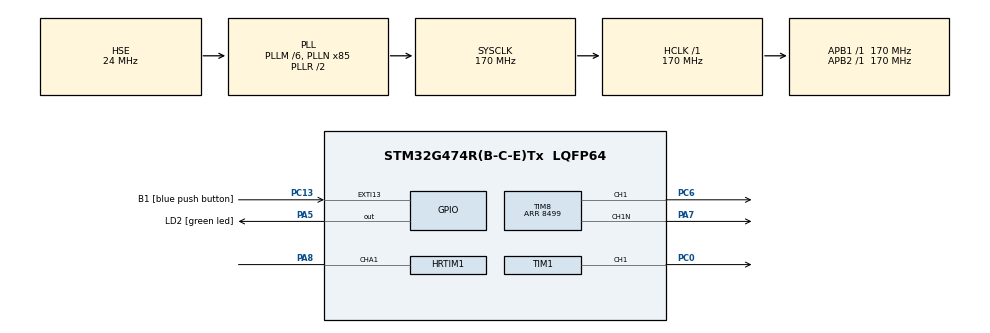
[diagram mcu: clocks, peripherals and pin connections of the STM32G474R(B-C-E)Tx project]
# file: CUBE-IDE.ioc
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HRTIM1.CompareUnit1-Output_TA1=HRTIM_COMPAREUNIT_1
HRTIM1.CompareValue1-Output_TA1=4094
HRTIM1.NumberResetSource1-Output_TA1=1
HRTIM1.NumberSetSource1-Output_TA1=1
HRTIM1.NumberUpdateTrigger-Output_TA1=1
HRTIM1.PreloadEnable-Output_TA1=HRTIM_PRELOAD_ENABLED
HRTIM1.ResetOutput1_Source1-Output_TA1=HRTIM_OUTPUTRESET_TIMCMP1
HRTIM1.SetOutput1_Source1-Output_TA1=HRTIM_OUTPUTSET_TIMPER
HRTIM1.UpdateTrigger1-Output_TA1=HRTIM_TIMUPDATETRIGGER_TIMER_A
Mcu.Family=STM32G4
Mcu.Name=STM32G474R(B-C-E)Tx
Mcu.Package=LQFP64
NVIC.EXTI15_10_IRQn=true\:0\:0\:false\:false\:true\:true\:true\:true
NVIC.PriorityGroup=NVIC_PRIORITYGROUP_4
PA13.GPIO_Label=T_SWDIO
PA13.Signal=SYS_JTMS-SWDIO
PA14.GPIO_Label=T_SWCLK
PA14.Signal=SYS_JTCK-SWCLK
PA2.GPIO_Label=LPUART1_TX [STLINKV3E_VCP_RX]
PA2.Signal=LPUART1_TX
PA3.GPIO_Label=LPUART1_RX [STLINKV3E_VCP_TX]
PA3.Signal=LPUART1_RX
PA5.GPIO_Label=LD2 [green led]
PA5.Signal=GPIO_Output
PA7.Mode=PWM Generation1 CH1 CH1N
PA7.Signal=TIM8_CH1N
PA8.Mode=Output_TA1
PA8.Signal=HRTIM1_CHA1
PB3.GPIO_Label=T_SWO
PB3.Signal=SYS_JTDO-SWO
PC0.Signal=S_TIM1_CH1
PC13.GPIO_Label=B1 [blue push button]
PC13.Signal=GPXTI13
PC14-OSC32_IN.GPIO_Label=RCC_OSC32_IN
PC14-OSC32_IN.Mode=LSE-External-Oscillator
PC14-OSC32_IN.Signal=RCC_OSC32_IN
PC15-OSC32_OUT.GPIO_Label=RCC_OSC32_OUT
PC15-OSC32_OUT.Mode=LSE-External-Oscillator
PC15-OSC32_OUT.Signal=RCC_OSC32_OUT
PC6.Signal=S_TIM8_CH1
PF0-OSC_IN.GPIO_Label=RCC_OSC_IN
PF0-OSC_IN.Mode=HSE-External-Oscillator
PF0-OSC_IN.Signal=RCC_OSC_IN
PF1-OSC_OUT.GPIO_Label=RCC_OSC_OUT
PF1-OSC_OUT.Mode=HSE-External-Oscillator
PF1-OSC_OUT.Signal=RCC_OSC_OUT
ProjectManager.HeapSize=0x200
ProjectManager.StackSize=0x400
ProjectManager.TargetToolchain=STM32CubeIDE
RCC.ADC12Freq_Value=170000000
RCC.ADC345Freq_Value=170000000
RCC.AHBFreq_Value=170000000
RCC.APB1Freq_Value=170000000
RCC.APB1TimFreq_Value=170000000
RCC.APB2Freq_Value=170000000
RCC.APB2TimFreq_Value=170000000
RCC.CortexFreq_Value=170000000
RCC.EXTERNAL_CLOCK_VALUE=12288000
RCC.HCLKFreq_Value=170000000
RCC.HSE_VALUE=24000000
RCC.HSI48_VALUE=48000000
RCC.HSI_VALUE=16000000
RCC.PLLM=RCC_PLLM_DIV6
RCC.PLLN=85
RCC.PLLSourceVirtual=RCC_PLLSOURCE_HSE
RCC.RTCClockSelection=RCC_RTCCLKSOURCE_LSE
RCC.SYSCLKFreq_VALUE=170000000
RCC.SYSCLKSource=RCC_SYSCLKSOURCE_PLLCLK
RCC.USBFreq_Value=170000000
RCC.VCOOutputFreq_Value=340000000
SH.S_TIM1_CH1.0=TIM1_CH1,PWM Generation1 CH1
SH.S_TIM8_CH1.0=TIM8_CH1,PWM Generation1 CH1 CH1N
TIM1.AutoReloadPreload=TIM_AUTORELOAD_PRELOAD_ENABLE
TIM1.Channel-PWM\ Generation1\ CH1=TIM_CHANNEL_1
TIM1.PeriodNoDither=33999
TIM8.AutoReloadPreload=TIM_AUTORELOAD_PRELOAD_ENABLE
TIM8.Channel-PWM\ Generation1\ CH1\ CH1N=TIM_CHANNEL_1
TIM8.PeriodNoDither=8499
VP_HRTIM1_VS_hrtimMasterTimerNoOutput.Mode=MasterTimer
VP_SYS_VS_DBSignals.Mode=DisableDeadBatterySignals
VP_TIM1_VS_ClockSourceINT.Mode=Internal
VP_TIM8_VS_ClockSourceINT.Mode=Internal
board=NUCLEO-G474RE

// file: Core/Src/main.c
/* USER CODE BEGIN Header */
/**
  ******************************************************************************
  * @file           : main.c
  * @brief          : Main program body
  ******************************************************************************
  * @attention
  *
  * Copyright (c) 2026 STMicroelectronics.
  * All rights reserved.
  *
  * This software is licensed under terms that can be found in the LICENSE file
  * in the root directory of this software component.
  * If no LICENSE file comes with this software, it is provided AS-IS.
  *
  ******************************************************************************
  */
/* USER CODE END Header */
#include "main.h"

/* USER CODE BEGIN PD */

/* Convert a percentage (integer, 0-100) and a timer period count to a CCR
   tick value. Both arguments must be compile-time constants — the compiler
   folds the entire expression to a single immediate with zero runtime cost.
   Example: DUTY_TO_TICKS(75, 34000) -> (75 * 34000) / 100 -> 25500         */
#define DUTY_TO_TICKS(pct, period)  (((uint32_t)(pct) * (uint32_t)(period)) / 100U)

/* TIM1 - 5 kHz PWM on CH1  (ARR = 33999, period counts = 34000) */
#define TIM1_ARR            34000U
#define TIM1_DUTY_75        DUTY_TO_TICKS(75, TIM1_ARR)   /* 25500 */
#define TIM1_DUTY_25        DUTY_TO_TICKS(25, TIM1_ARR)   /* 8500  */

/* TIM8 - 20 kHz PWM on CH1 and CH1N (ARR = 8499, period counts = 8500)
   CH1  -> 65% duty (active high)
   CH1N -> 35% duty (logical complement of CH1, OCNPolarity HIGH)          */
#define TIM8_ARR            8500U
#define TIM8_DUTY_65        DUTY_TO_TICKS(65, TIM8_ARR)   /* 5525  */

/* HRTIM Timer A - pulse sweep 15% -> 95% -> 15% (triangular)
   Period register = 0xFFDF = 65503, counts = 65504
   Preload enabled + UpdateTrigger = Timer A period event (set via IOC):
   CMP1 writes go to shadow register and transfer to active at period
   boundary — guarantees glitch-free pulse edges during the sweep.           */
#define HRTIM_ARR           65504U
#define HRTIM_CMP_MIN       DUTY_TO_TICKS(15, HRTIM_ARR)  /* 9825  */
#define HRTIM_CMP_MAX       DUTY_TO_TICKS(95, HRTIM_ARR)  /* 62228 */
#define HRTIM_SWEEP_STEPS   80U
#define HRTIM_SWEEP_STEP_SZ ((HRTIM_CMP_MAX - HRTIM_CMP_MIN) / HRTIM_SWEEP_STEPS)
#define HRTIM_SWEEP_MS      50U    /* update interval: 0.05 s */

/* USER CODE END PD */

HRTIM_HandleTypeDef hhrtim1;

TIM_HandleTypeDef htim1;
TIM_HandleTypeDef htim8;

/* USER CODE BEGIN PV */

static uint32_t hrtim_cmp       = HRTIM_CMP_MIN;
static uint32_t hrtim_last_tick = 0;
static uint8_t  hrtim_dir       = 1;  /* 1 = ascending, 0 = descending */

/* USER CODE END PV */

void SystemClock_Config(void);
static void MX_GPIO_Init(void);
static void MX_HRTIM1_Init(void);
static void MX_TIM1_Init(void);
static void MX_TIM8_Init(void);

int main(void)
{

  /* MCU Configuration--------------------------------------------------------*/

  /* Reset of all peripherals, Initializes the Flash interface and the Systick. */
  HAL_Init();

  /* Configure the system clock */
  SystemClock_Config();

  /* Initialize all configured peripherals */
  MX_GPIO_Init();
  MX_HRTIM1_Init();
  MX_TIM1_Init();
  MX_TIM8_Init();
  /* USER CODE BEGIN 2 */

  /* Declare all local structs at the top of the block (C89 safe)           */
  HRTIM_CompareCfgTypeDef cmpCfg  = {0};
  HRTIM_CompareCfgTypeDef sweepCmp = {0};

  /* --- TIM1: default 75% duty, start CH1 PWM ----------------------------
     B1 (PC13) is active LOW on NUCLEO-G474:
       Released (GPIO_PIN_SET)   -> 75% duty  (default)
       Pressed  (GPIO_PIN_RESET) -> 25% duty                               */
  __HAL_TIM_SET_COMPARE(&htim1, TIM_CHANNEL_1, TIM1_DUTY_75);
  HAL_TIM_PWM_Start(&htim1, TIM_CHANNEL_1);

  /* --- TIM8: set 65% duty, start CH1 (65%) and CH1N (35% complement) -----
     Pulse = 0 in CubeMX init; duty applied here so regeneration never
     breaks it. CH1N is the logical inverse — no polarity inversion needed.  */
  __HAL_TIM_SET_COMPARE(&htim8, TIM_CHANNEL_1, TIM8_DUTY_65);
  HAL_TIM_PWM_Start(&htim8, TIM_CHANNEL_1);       /* CH1  - 65% */
  HAL_TIMEx_PWMN_Start(&htim8, TIM_CHANNEL_1);    /* CH1N - complementary = 35% */

  /* --- HRTIM Timer A: load 15% CMP1 then start --------------------------
     Writing CMP1 before WaveformCountStart bypasses the shadow register
     (timer not running) so the very first pulse is correctly at 15%.
     Once running, all sweep writes hit the shadow register and transfer
     cleanly at each period event (preload + UpdateTrigger_TIMER_A).       */
  HRTIM1->sTimerxRegs[HRTIM_TIMERINDEX_TIMER_A].CMP1xR = HRTIM_CMP_MIN;
  HAL_HRTIM_WaveformOutputStart(&hhrtim1, HRTIM_OUTPUT_TA1);
  HAL_HRTIM_WaveformCountStart(&hhrtim1, HRTIM_TIMERID_TIMER_A);
  HRTIM1->sCommonRegs.OENR = HRTIM_OENR_TA1OEN;

  cmpCfg.CompareValue = HRTIM_CMP_MIN;
  HAL_HRTIM_WaveformCompareConfig(&hhrtim1, HRTIM_TIMERINDEX_TIMER_A,
                                   HRTIM_COMPAREUNIT_1, &cmpCfg);

  hrtim_last_tick = HAL_GetTick();

  /* USER CODE END 2 */

  /* Infinite loop */
  while (1)
  {

    /* USER CODE BEGIN 3 */

    /* --- TIM1: read B1 (PC13, active LOW) ---------------------------------
       Released (SET)   -> 75% duty (default)
       Pressed  (RESET) -> 25% duty                                         */
    if (HAL_GPIO_ReadPin(B1_GPIO_Port, B1_Pin) == GPIO_PIN_RESET)
    {
      __HAL_TIM_SET_COMPARE(&htim1, TIM_CHANNEL_1, TIM1_DUTY_75);
    }
    else
    {
      __HAL_TIM_SET_COMPARE(&htim1, TIM_CHANNEL_1, TIM1_DUTY_25);
    }

    /* --- HRTIM Timer A: triangular sweep 15% -> 95% -> 15% ---------------
       CMP1 updated every 50 ms. Shadow register absorbs the write; hardware
       transfers to active CMP1 at the next period event — no runt pulses.  */
    if ((HAL_GetTick() - hrtim_last_tick) >= HRTIM_SWEEP_MS)
    {
      hrtim_last_tick = HAL_GetTick();

      if (hrtim_dir)
      {
        hrtim_cmp += HRTIM_SWEEP_STEP_SZ;
        if (hrtim_cmp >= HRTIM_CMP_MAX)
        {
          hrtim_cmp = HRTIM_CMP_MAX;
          hrtim_dir = 0;
        }
      }
      else
      {
        if (hrtim_cmp > HRTIM_CMP_MIN + HRTIM_SWEEP_STEP_SZ)
        {
          hrtim_cmp -= HRTIM_SWEEP_STEP_SZ;
        }
        else
        {
          hrtim_cmp = HRTIM_CMP_MIN;
          hrtim_dir = 1;
        }
      }

      /* Write into shadow register — transfers to active at period event  */
      sweepCmp.CompareValue = hrtim_cmp;
      HAL_HRTIM_WaveformCompareConfig(&hhrtim1, HRTIM_TIMERINDEX_TIMER_A,
                                       HRTIM_COMPAREUNIT_1, &sweepCmp);
      HRTIM1->sCommonRegs.CR2 |= HRTIM_CR2_TASWU;
    }

  }
  /* USER CODE END 3 */
}

void SystemClock_Config(void)
{
  RCC_OscInitTypeDef RCC_OscInitStruct = {0};
  RCC_ClkInitTypeDef RCC_ClkInitStruct = {0};

  /** Configure the main internal regulator output voltage
  */
  HAL_PWREx_ControlVoltageScaling(PWR_REGULATOR_VOLTAGE_SCALE1_BOOST);

  /** Initializes the RCC Oscillators according to the specified parameters
  * in the RCC_OscInitTypeDef structure.
  */
  RCC_OscInitStruct.OscillatorType = RCC_OSCILLATORTYPE_HSE;
  RCC_OscInitStruct.HSEState = RCC_HSE_ON;
  RCC_OscInitStruct.PLL.PLLState = RCC_PLL_ON;
  RCC_OscInitStruct.PLL.PLLSource = RCC_PLLSOURCE_HSE;
  RCC_OscInitStruct.PLL.PLLM = RCC_PLLM_DIV6;
  RCC_OscInitStruct.PLL.PLLN = 85;
  RCC_OscInitStruct.PLL.PLLP = RCC_PLLP_DIV2;
  RCC_OscInitStruct.PLL.PLLQ = RCC_PLLQ_DIV2;
  RCC_OscInitStruct.PLL.PLLR = RCC_PLLR_DIV2;
  if (HAL_RCC_OscConfig(&RCC_OscInitStruct) != HAL_OK)
  {
    Error_Handler();
  }

  /** Initializes the CPU, AHB and APB buses clocks
  */
  RCC_ClkInitStruct.ClockType = RCC_CLOCKTYPE_HCLK|RCC_CLOCKTYPE_SYSCLK
                              |RCC_CLOCKTYPE_PCLK1|RCC_CLOCKTYPE_PCLK2;
  RCC_ClkInitStruct.SYSCLKSource = RCC_SYSCLKSOURCE_PLLCLK;
  RCC_ClkInitStruct.AHBCLKDivider = RCC_SYSCLK_DIV1;
  RCC_ClkInitStruct.APB1CLKDivider = RCC_HCLK_DIV1;
  RCC_ClkInitStruct.APB2CLKDivider = RCC_HCLK_DIV1;

  if (HAL_RCC_ClockConfig(&RCC_ClkInitStruct, FLASH_LATENCY_4) != HAL_OK)
  {
    Error_Handler();
  }
}

static void MX_HRTIM1_Init(void)
{

  HRTIM_TimeBaseCfgTypeDef pTimeBaseCfg = {0};
  HRTIM_TimerCfgTypeDef pTimerCfg = {0};
  HRTIM_TimerCtlTypeDef pTimerCtl = {0};
  HRTIM_CompareCfgTypeDef pCompareCfg = {0};
  HRTIM_OutputCfgTypeDef pOutputCfg = {0};

  hhrtim1.Instance = HRTIM1;
  hhrtim1.Init.HRTIMInterruptResquests = HRTIM_IT_NONE;
  hhrtim1.Init.SyncOptions = HRTIM_SYNCOPTION_NONE;
  if (HAL_HRTIM_Init(&hhrtim1) != HAL_OK)
  {
    Error_Handler();
  }
  if (HAL_HRTIM_DLLCalibrationStart(&hhrtim1, HRTIM_CALIBRATIONRATE_3) != HAL_OK)
  {
    Error_Handler();
  }
  if (HAL_HRTIM_PollForDLLCalibration(&hhrtim1, 10) != HAL_OK)
  {
    Error_Handler();
  }
  pTimeBaseCfg.Period = 0xFFDF;
  pTimeBaseCfg.RepetitionCounter = 0x00;
  pTimeBaseCfg.PrescalerRatio = HRTIM_PRESCALERRATIO_MUL32;
  pTimeBaseCfg.Mode = HRTIM_MODE_CONTINUOUS;
  if (HAL_HRTIM_TimeBaseConfig(&hhrtim1, HRTIM_TIMERINDEX_MASTER, &pTimeBaseCfg) != HAL_OK)
  {
    Error_Handler();
  }
  pTimerCfg.InterruptRequests = HRTIM_MASTER_IT_NONE;
  pTimerCfg.DMARequests = HRTIM_MASTER_DMA_NONE;
  pTimerCfg.DMASrcAddress = 0x0000;
  pTimerCfg.DMADstAddress = 0x0000;
  pTimerCfg.DMASize = 0x1;
  pTimerCfg.HalfModeEnable = HRTIM_HALFMODE_DISABLED;
  pTimerCfg.InterleavedMode = HRTIM_INTERLEAVED_MODE_DISABLED;
  pTimerCfg.StartOnSync = HRTIM_SYNCSTART_DISABLED;
  pTimerCfg.ResetOnSync = HRTIM_SYNCRESET_DISABLED;
  pTimerCfg.DACSynchro = HRTIM_DACSYNC_NONE;
  pTimerCfg.PreloadEnable = HRTIM_PRELOAD_DISABLED;
  pTimerCfg.UpdateGating = HRTIM_UPDATEGATING_INDEPENDENT;
  pTimerCfg.BurstMode = HRTIM_TIMERBURSTMODE_MAINTAINCLOCK;
  pTimerCfg.RepetitionUpdate = HRTIM_UPDATEONREPETITION_DISABLED;
  pTimerCfg.ReSyncUpdate = HRTIM_TIMERESYNC_UPDATE_UNCONDITIONAL;
  if (HAL_HRTIM_WaveformTimerConfig(&hhrtim1, HRTIM_TIMERINDEX_MASTER, &pTimerCfg) != HAL_OK)
  {
    Error_Handler();
  }
  if (HAL_HRTIM_TimeBaseConfig(&hhrtim1, HRTIM_TIMERINDEX_TIMER_A, &pTimeBaseCfg) != HAL_OK)
  {
    Error_Handler();
  }
  pTimerCtl.UpDownMode = HRTIM_TIMERUPDOWNMODE_UP;
  pTimerCtl.GreaterCMP1 = HRTIM_TIMERGTCMP1_EQUAL;
  pTimerCtl.DualChannelDacEnable = HRTIM_TIMER_DCDE_DISABLED;
  if (HAL_HRTIM_WaveformTimerControl(&hhrtim1, HRTIM_TIMERINDEX_TIMER_A, &pTimerCtl) != HAL_OK)
  {
    Error_Handler();
  }
  pTimerCfg.InterruptRequests = HRTIM_TIM_IT_NONE;
  pTimerCfg.DMARequests = HRTIM_TIM_DMA_NONE;
  pTimerCfg.PreloadEnable = HRTIM_PRELOAD_ENABLED;
  pTimerCfg.PushPull = HRTIM_TIMPUSHPULLMODE_DISABLED;
  pTimerCfg.FaultEnable = HRTIM_TIMFAULTENABLE_NONE;
  pTimerCfg.FaultLock = HRTIM_TIMFAULTLOCK_READWRITE;
  pTimerCfg.DeadTimeInsertion = HRTIM_TIMDEADTIMEINSERTION_DISABLED;
  pTimerCfg.DelayedProtectionMode = HRTIM_TIMER_A_B_C_DELAYEDPROTECTION_DISABLED;
  pTimerCfg.UpdateTrigger = HRTIM_TIMUPDATETRIGGER_TIMER_A;
  pTimerCfg.ResetTrigger = HRTIM_TIMRESETTRIGGER_NONE;
  pTimerCfg.ResetUpdate = HRTIM_TIMUPDATEONRESET_DISABLED;
  if (HAL_HRTIM_WaveformTimerConfig(&hhrtim1, HRTIM_TIMERINDEX_TIMER_A, &pTimerCfg) != HAL_OK)
  {
    Error_Handler();
  }
  pCompareCfg.CompareValue = 4094;
  if (HAL_HRTIM_WaveformCompareConfig(&hhrtim1, HRTIM_TIMERINDEX_TIMER_A, HRTIM_COMPAREUNIT_1, &pCompareCfg) != HAL_OK)
  {
    Error_Handler();
  }
  pOutputCfg.Polarity = HRTIM_OUTPUTPOLARITY_HIGH;
  pOutputCfg.SetSource = HRTIM_OUTPUTSET_TIMPER;
  pOutputCfg.ResetSource = HRTIM_OUTPUTRESET_TIMCMP1;
  pOutputCfg.IdleMode = HRTIM_OUTPUTIDLEMODE_NONE;
  pOutputCfg.IdleLevel = HRTIM_OUTPUTIDLELEVEL_INACTIVE;
  pOutputCfg.FaultLevel = HRTIM_OUTPUTFAULTLEVEL_NONE;
  pOutputCfg.ChopperModeEnable = HRTIM_OUTPUTCHOPPERMODE_DISABLED;
  pOutputCfg.BurstModeEntryDelayed = HRTIM_OUTPUTBURSTMODEENTRY_REGULAR;
  if (HAL_HRTIM_WaveformOutputConfig(&hhrtim1, HRTIM_TIMERINDEX_TIMER_A, HRTIM_OUTPUT_TA1, &pOutputCfg) != HAL_OK)
  {
    Error_Handler();
  }
  HAL_HRTIM_MspPostInit(&hhrtim1);

}

static void MX_TIM1_Init(void)
{

  TIM_ClockConfigTypeDef sClockSourceConfig = {0};
  TIM_MasterConfigTypeDef sMasterConfig = {0};
  TIM_OC_InitTypeDef sConfigOC = {0};
  TIM_BreakDeadTimeConfigTypeDef sBreakDeadTimeConfig = {0};

  htim1.Instance = TIM1;
  htim1.Init.Prescaler = 0;
  htim1.Init.CounterMode = TIM_COUNTERMODE_UP;
  htim1.Init.Period = 33999;
  htim1.Init.ClockDivision = TIM_CLOCKDIVISION_DIV1;
  htim1.Init.RepetitionCounter = 0;
  htim1.Init.AutoReloadPreload = TIM_AUTORELOAD_PRELOAD_ENABLE;
  if (HAL_TIM_Base_Init(&htim1) != HAL_OK)
  {
    Error_Handler();
  }
  sClockSourceConfig.ClockSource = TIM_CLOCKSOURCE_INTERNAL;
  if (HAL_TIM_ConfigClockSource(&htim1, &sClockSourceConfig) != HAL_OK)
  {
    Error_Handler();
  }
  if (HAL_TIM_PWM_Init(&htim1) != HAL_OK)
  {
    Error_Handler();
  }
  sMasterConfig.MasterOutputTrigger = TIM_TRGO_RESET;
  sMasterConfig.MasterOutputTrigger2 = TIM_TRGO2_RESET;
  sMasterConfig.MasterSlaveMode = TIM_MASTERSLAVEMODE_DISABLE;
  if (HAL_TIMEx_MasterConfigSynchronization(&htim1, &sMasterConfig) != HAL_OK)
  {
    Error_Handler();
  }
  sConfigOC.OCMode = TIM_OCMODE_PWM1;
  sConfigOC.Pulse = 0;
  sConfigOC.OCPolarity = TIM_OCPOLARITY_HIGH;
  sConfigOC.OCNPolarity = TIM_OCNPOLARITY_HIGH;
  sConfigOC.OCFastMode = TIM_OCFAST_DISABLE;
  sConfigOC.OCIdleState = TIM_OCIDLESTATE_RESET;
  sConfigOC.OCNIdleState = TIM_OCNIDLESTATE_RESET;
  if (HAL_TIM_PWM_ConfigChannel(&htim1, &sConfigOC, TIM_CHANNEL_1) != HAL_OK)
  {
    Error_Handler();
  }
  sBreakDeadTimeConfig.OffStateRunMode = TIM_OSSR_DISABLE;
  sBreakDeadTimeConfig.OffStateIDLEMode = TIM_OSSI_DISABLE;
  sBreakDeadTimeConfig.LockLevel = TIM_LOCKLEVEL_OFF;
  sBreakDeadTimeConfig.DeadTime = 0;
  sBreakDeadTimeConfig.BreakState = TIM_BREAK_DISABLE;
  sBreakDeadTimeConfig.BreakPolarity = TIM_BREAKPOLARITY_HIGH;
  sBreakDeadTimeConfig.BreakFilter = 0;
  sBreakDeadTimeConfig.BreakAFMode = TIM_BREAK_AFMODE_INPUT;
  sBreakDeadTimeConfig.Break2State = TIM_BREAK2_DISABLE;
  sBreakDeadTimeConfig.Break2Polarity = TIM_BREAK2POLARITY_HIGH;
  sBreakDeadTimeConfig.Break2Filter = 0;
  sBreakDeadTimeConfig.Break2AFMode = TIM_BREAK_AFMODE_INPUT;
  sBreakDeadTimeConfig.AutomaticOutput = TIM_AUTOMATICOUTPUT_DISABLE;
  if (HAL_TIMEx_ConfigBreakDeadTime(&htim1, &sBreakDeadTimeConfig) != HAL_OK)
  {
    Error_Handler();
  }
  HAL_TIM_MspPostInit(&htim1);

}

static void MX_TIM8_Init(void)
{

  TIM_ClockConfigTypeDef sClockSourceConfig = {0};
  TIM_MasterConfigTypeDef sMasterConfig = {0};
  TIM_OC_InitTypeDef sConfigOC = {0};
  TIM_BreakDeadTimeConfigTypeDef sBreakDeadTimeConfig = {0};

  htim8.Instance = TIM8;
  htim8.Init.Prescaler = 0;
  htim8.Init.CounterMode = TIM_COUNTERMODE_UP;
  htim8.Init.Period = 8499;
  htim8.Init.ClockDivision = TIM_CLOCKDIVISION_DIV1;
  htim8.Init.RepetitionCounter = 0;
  htim8.Init.AutoReloadPreload = TIM_AUTORELOAD_PRELOAD_ENABLE;
  if (HAL_TIM_Base_Init(&htim8) != HAL_OK)
  {
    Error_Handler();
  }
  sClockSourceConfig.ClockSource = TIM_CLOCKSOURCE_INTERNAL;
  if (HAL_TIM_ConfigClockSource(&htim8, &sClockSourceConfig) != HAL_OK)
  {
    Error_Handler();
  }
  if (HAL_TIM_PWM_Init(&htim8) != HAL_OK)
  {
    Error_Handler();
  }
  sMasterConfig.MasterOutputTrigger = TIM_TRGO_RESET;
  sMasterConfig.MasterOutputTrigger2 = TIM_TRGO2_RESET;
  sMasterConfig.MasterSlaveMode = TIM_MASTERSLAVEMODE_DISABLE;
  if (HAL_TIMEx_MasterConfigSynchronization(&htim8, &sMasterConfig) != HAL_OK)
  {
    Error_Handler();
  }
  sConfigOC.OCMode = TIM_OCMODE_PWM1;
  sConfigOC.Pulse = 0;
  sConfigOC.OCPolarity = TIM_OCPOLARITY_HIGH;
  sConfigOC.OCNPolarity = TIM_OCNPOLARITY_HIGH;
  sConfigOC.OCFastMode = TIM_OCFAST_DISABLE;
  sConfigOC.OCIdleState = TIM_OCIDLESTATE_RESET;
  sConfigOC.OCNIdleState = TIM_OCNIDLESTATE_RESET;
  if (HAL_TIM_PWM_ConfigChannel(&htim8, &sConfigOC, TIM_CHANNEL_1) != HAL_OK)
  {
    Error_Handler();
  }
  sBreakDeadTimeConfig.OffStateRunMode = TIM_OSSR_DISABLE;
  sBreakDeadTimeConfig.OffStateIDLEMode = TIM_OSSI_DISABLE;
  sBreakDeadTimeConfig.LockLevel = TIM_LOCKLEVEL_OFF;
  sBreakDeadTimeConfig.DeadTime = 0;
  sBreakDeadTimeConfig.BreakState = TIM_BREAK_DISABLE;
  sBreakDeadTimeConfig.BreakPolarity = TIM_BREAKPOLARITY_HIGH;
  sBreakDeadTimeConfig.BreakFilter = 0;
  sBreakDeadTimeConfig.BreakAFMode = TIM_BREAK_AFMODE_INPUT;
  sBreakDeadTimeConfig.Break2State = TIM_BREAK2_DISABLE;
  sBreakDeadTimeConfig.Break2Polarity = TIM_BREAK2POLARITY_HIGH;
  sBreakDeadTimeConfig.Break2Filter = 0;
  sBreakDeadTimeConfig.Break2AFMode = TIM_BREAK_AFMODE_INPUT;
  sBreakDeadTimeConfig.AutomaticOutput = TIM_AUTOMATICOUTPUT_DISABLE;
  if (HAL_TIMEx_ConfigBreakDeadTime(&htim8, &sBreakDeadTimeConfig) != HAL_OK)
  {
    Error_Handler();
  }
  HAL_TIM_MspPostInit(&htim8);

}

static void MX_GPIO_Init(void)
{
  GPIO_InitTypeDef GPIO_InitStruct = {0};

  /* GPIO Ports Clock Enable */
  __HAL_RCC_GPIOC_CLK_ENABLE();
  __HAL_RCC_GPIOF_CLK_ENABLE();
  __HAL_RCC_GPIOA_CLK_ENABLE();
  __HAL_RCC_GPIOB_CLK_ENABLE();

  /*Configure GPIO pin Output Level */
  HAL_GPIO_WritePin(LD2_GPIO_Port, LD2_Pin, GPIO_PIN_RESET);

  /*Configure GPIO pin : B1_Pin */
  GPIO_InitStruct.Pin = B1_Pin;
  GPIO_InitStruct.Mode = GPIO_MODE_IT_RISING;
  GPIO_InitStruct.Pull = GPIO_NOPULL;
  HAL_GPIO_Init(B1_GPIO_Port, &GPIO_InitStruct);

  /*Configure GPIO pins : LPUART1_TX_Pin LPUART1_RX_Pin */
  GPIO_InitStruct.Pin = LPUART1_TX_Pin|LPUART1_RX_Pin;
  GPIO_InitStruct.Mode = GPIO_MODE_AF_PP;
  GPIO_InitStruct.Pull = GPIO_NOPULL;
  GPIO_InitStruct.Speed = GPIO_SPEED_FREQ_LOW;
  GPIO_InitStruct.Alternate = GPIO_AF12_LPUART1;
  HAL_GPIO_Init(GPIOA, &GPIO_InitStruct);

  /*Configure GPIO pin : LD2_Pin */
  GPIO_InitStruct.Pin = LD2_Pin;
  GPIO_InitStruct.Mode = GPIO_MODE_OUTPUT_PP;
  GPIO_InitStruct.Pull = GPIO_NOPULL;
  GPIO_InitStruct.Speed = GPIO_SPEED_FREQ_LOW;
  HAL_GPIO_Init(LD2_GPIO_Port, &GPIO_InitStruct);

  /* EXTI interrupt init*/
  HAL_NVIC_SetPriority(EXTI15_10_IRQn, 0, 0);
  HAL_NVIC_EnableIRQ(EXTI15_10_IRQn);

}

void Error_Handler(void)
{
  __disable_irq();
  while (1)
  {
  }
}
